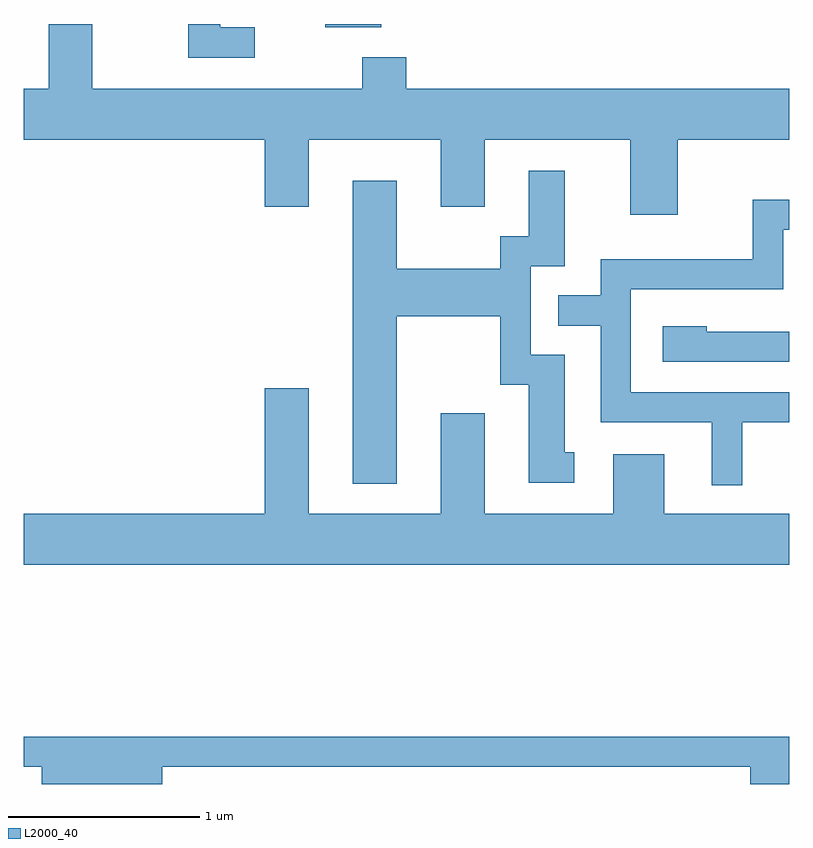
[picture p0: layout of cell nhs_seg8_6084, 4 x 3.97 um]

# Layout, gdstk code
import gdstk
lib = gdstk.Library(unit=1e-6, precision=1e-09)
def R(c, l, rs):  # rectangles x0, y0, x1, y1
    for r in rs: c.add(gdstk.rectangle(r[:2], r[2:], *l))
def P(c, l, *ps):  # polygons
    for p in ps: c.add(gdstk.Polygon(p, *l))
L2000_40 = (2000, 40)

nhs_seg8_6084 = lib.new_cell('nhs_seg8_6084')
R(nhs_seg8_6084, L2000_40, [(369.186,1850.326,369.479,1850.342)])
P(nhs_seg8_6084, L2000_40, [(371.029,1849.736),(371.611,1849.736),(371.611,1850.004),(369.609,1850.004),(369.609,1850.169),(369.381,1850.169),(369.381,1850.004),(367.969,1850.004),(367.969,1850.342),(367.741,1850.342),(367.741,1850.004),(367.611,1850.004),(367.611,1849.736),(368.871,1849.736),(368.871,1849.386),(369.099,1849.386),(369.099,1849.736),(369.791,1849.736),(369.791,1849.386),(370.019,1849.386),(370.019,1849.736),(370.781,1849.736),(370.781,1849.346),(371.029,1849.346)],
  [(368.818,1850.324),(368.639,1850.324),(368.639,1850.342),(368.471,1850.342),(368.471,1850.166),(368.818,1850.166)],
  [(369.559,1848.816),(370.101,1848.816),(370.101,1848.456),(370.251,1848.456),(370.251,1847.946),(370.488,1847.946),(370.488,1848.104),(370.439,1848.104),(370.439,1848.614),(370.259,1848.614),(370.259,1849.076),(370.439,1849.076),(370.439,1849.574),(370.251,1849.574),(370.251,1849.234),(370.101,1849.234),(370.101,1849.064),(369.559,1849.064),(369.559,1849.524),(369.331,1849.524),(369.331,1847.941),(369.559,1847.941)],
  [(371.364,1848.261),(371.611,1848.261),(371.611,1848.419),(370.784,1848.419),(370.784,1848.956),(371.579,1848.956),(371.579,1849.266),(371.611,1849.266),(371.611,1849.424),(371.421,1849.424),(371.421,1849.114),(370.626,1849.114),(370.626,1848.924),(370.403,1848.924),(370.403,1848.766),(370.626,1848.766),(370.626,1848.261),(371.206,1848.261),(371.206,1847.933),(371.364,1847.933)],
  [(371.611,1848.734),(371.179,1848.734),(371.179,1848.764),(370.951,1848.764),(370.951,1848.576),(371.611,1848.576)],
  [(371.611,1847.784),(370.959,1847.784),(370.959,1848.094),(370.691,1848.094),(370.691,1847.784),(370.019,1847.784),(370.019,1848.309),(369.791,1848.309),(369.791,1847.784),(369.099,1847.784),(369.099,1848.439),(368.871,1848.439),(368.871,1847.784),(367.611,1847.784),(367.611,1847.516),(371.611,1847.516)],
  [(368.334,1846.461),(371.406,1846.461),(371.406,1846.371),(371.611,1846.371),(371.611,1846.619),(367.611,1846.619),(367.611,1846.461),(367.706,1846.461),(367.706,1846.371),(368.334,1846.371)])

lib.write_gds('nhs_seg8_6084.gds')
